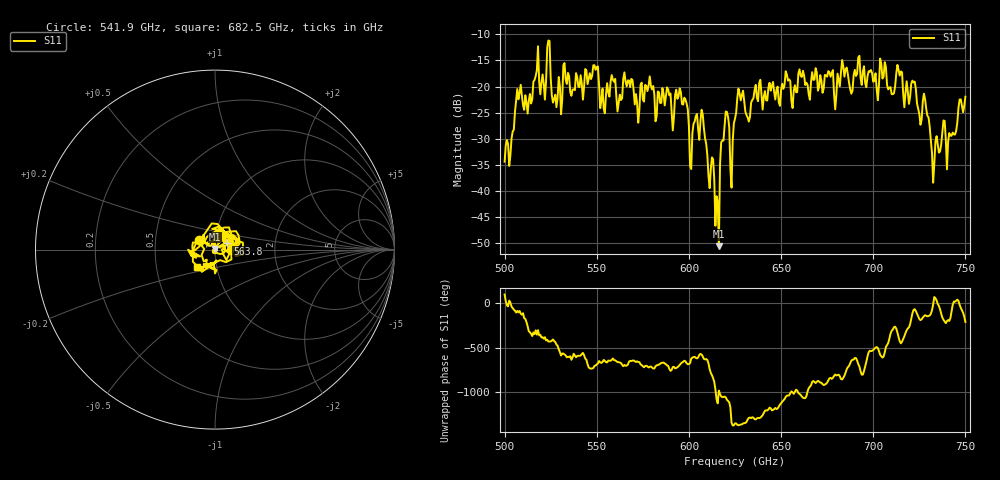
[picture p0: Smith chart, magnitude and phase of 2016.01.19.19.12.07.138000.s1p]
!Created with skrf (http://scikit-rf.org).
# GHz S RI R 50.0
!freq ReS11 ImS11
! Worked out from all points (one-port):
!   401 points, 500 GHz to 750 GHz, reference 50 ohm
!   lowest |S11| = -50.5 dB at 616.2 GHz (marker M1), VSWR 1.01, Z = 50 + j0.296 ohm
!   |S11| at or under -10 dB: start of sweep to end of sweep
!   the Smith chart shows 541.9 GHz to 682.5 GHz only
!   S11 on the Smith chart (normalised r, x): 541.9 GHz: 0.83, +0.09; 563.8 GHz: 1.15, +0.08; 682.5 GHz: 0.81, -0.16
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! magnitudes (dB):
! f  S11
! 500 GHz  -34.4
! 507.5 GHz  -22.4
! 513.8 GHz  -21.4
! 516.9 GHz  -18.0
! 531.2 GHz  -22.6
! 541.9 GHz  -19.4
! 549.4 GHz  -16.8
! 553.1 GHz  -20.4
! 558.8 GHz  -18.7
! 562.5 GHz  -21.5
! 563.8 GHz  -22.3
! 593.8 GHz  -22.3
! 601.2 GHz  -35.8
! 607.5 GHz  -25.3
! 615 GHz  -41.0
! 616.2 GHz  -50.5
! 619.4 GHz  -27.4
! 623.1 GHz  -39.3
! 625 GHz  -26.2
! 628.1 GHz  -22.6
! 631.9 GHz  -25.9
! 656.2 GHz  -24.1
! 682.5 GHz  -17.3
! 687.5 GHz  -20.5
! 718.8 GHz  -21.0
! 728.1 GHz  -22.4
! 732.5 GHz  -38.4
! 750 GHz  -22.0
